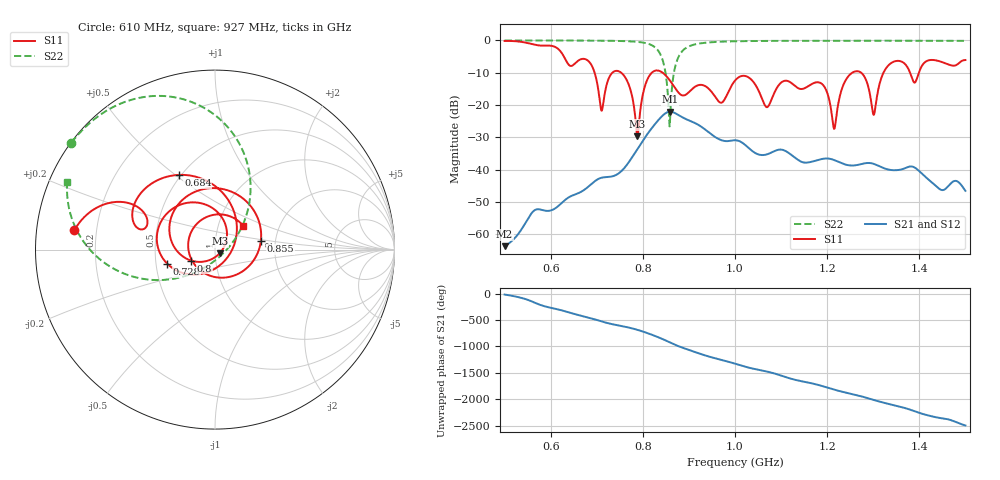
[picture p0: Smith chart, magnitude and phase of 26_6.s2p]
! TOUCHSTONE file generated by CST MICROWAVE STUDIO
! Date and time: Tue Nov 24 13:44:33 2020
! Project name: Scenario_1_Planar_Body_Tissue_Out_of_Line.cst
! Parameters = {dy1=86.5; L_HA=400; Ltissue=700; MT=2.54; Rad_Dielectric=30; Rad_Lower=7.3; Rad_Upper=30; Wtissue=700; a_HA=580; a_WG=246; b_HA=500; b_WG=121; c_HA=0; c_WG=187; d_feed=85; dx1=1039; h_feed=15; h_lower=18; h_upper=40; hfat=3; hgap=25; hmuscle=50; hskin=1.5}
! Header version: 2018
! Port assignment regex: !\s*Touchstone port\s*([0-9]+)\s*=\s*(CST MWS port|CST DS port)\s*([0-9]+|Zmin|Zmax)\s*\(\"(.*)\"\)(\s*mode\s*([0-9]+))?.*
! Touchstone port assignment:
! Touchstone port 1 = CST MWS port 1 ("")
! Touchstone port 2 = CST MWS port 2 ("")
# GHz S DB R 50
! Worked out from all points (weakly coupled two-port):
!   1003 points, 500 MHz to 1.5 GHz, reference 50 ohm
!   highest |S21| = -22.05 dB at 859 MHz (marker M1); lowest = -63.6 dB at 500 MHz (marker M2)
!   lowest |S11| = -29.6 dB at 788 MHz (marker M3), VSWR 1.07, Z = 52.6 - j2.12 ohm
!   |S11| at or under -10 dB: 753.2 MHz to 819.3 MHz (66.08 MHz wide, 8.4 % of centre); 843.2 MHz to 1.254 GHz (411.1 MHz wide, 39.2 % of centre); 1.274 GHz to 1.322 GHz (48.24 MHz wide, 3.72 % of centre) (the widest 3 of 5)
!   |S22| runs from -26.6 to 0.0 dB; largest |S21 - S12| = 6.8e-05
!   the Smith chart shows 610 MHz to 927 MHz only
!   S11 on the Smith chart (normalised r, x): 610 MHz: 0.12, +0.07; 684 MHz: 0.48, +0.51; 728 MHz: 0.57, -0.10; 800 MHz: 0.76, -0.10; 855 MHz: 1.68, +0.17; 927 MHz: 1.31, +0.36
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0.5  -0.16 -121.6  -63.63 -17.3  -63.63 -17.3  -0.01 151.2
0.61  -2.03 172.2  -51.92 72.5  -51.92 72.5  -0.02 143.4
0.667  -5.76 150.8  -46.74 -60.4  -46.74 -60.4  -0.04 138.4
0.684  -6.69 116.0  -44.95 -97.9  -44.95 -97.9  -0.05 136.7
0.71  -21.68 -29.2  -42.48 -165.5  -42.48 -165.5  -0.08 133.7
0.728  -11.14 -163.5  -42.19 152.0  -42.19 152.0  -0.11 131.2
0.763  -11.72 102.9  -38.91 89.6  -38.91 89.6  -0.23 124.8
0.788  -29.65 -37.7  -33.63 34.3  -33.63 34.3  -0.44 117.8
0.8  -16.70 -155.2  -30.99 1.5  -30.99 1.5  -0.66 112.8
0.834  -9.34 84.8  -24.59 -108.2  -24.59 -108.2  -3.31 83.8
0.855  -11.70 10.8  -22.13 169.7  -22.13 169.7  -18.40 26.3
0.859  -12.44 -4.3  -22.05 153.2  -22.05 153.2  -24.84 -85.0
0.879  -16.39 -92.9  -23.22 78.2  -23.22 78.2  -4.66 -170.2
0.927  -13.74 40.2  -26.70 -68.0  -26.70 -68.0  -0.86 155.4
1  -12.44 57.8  -30.87 113.5  -30.88 113.5  -0.27 140.3
1.118  -12.77 -82.5  -34.95 -164.3  -34.94 -164.3  -0.11 128.2
1.167  -13.44 72.8  -37.50 99.1  -37.50 99.1  -0.10 124.2
1.215  -27.36 -143.3  -36.99 -18.7  -36.99 -18.7  -0.09 120.5
1.248  -10.76 52.4  -38.63 -91.3  -38.63 -91.3  -0.09 118.0
1.301  -23.03 12.1  -38.17 144.5  -38.17 144.5  -0.08 114.1
1.334  -7.57 24.2  -39.97 68.7  -39.97 68.7  -0.09 111.6
1.5  -6.06 -43.2  -46.52 21.5  -46.52 21.5  -0.13 98.0
